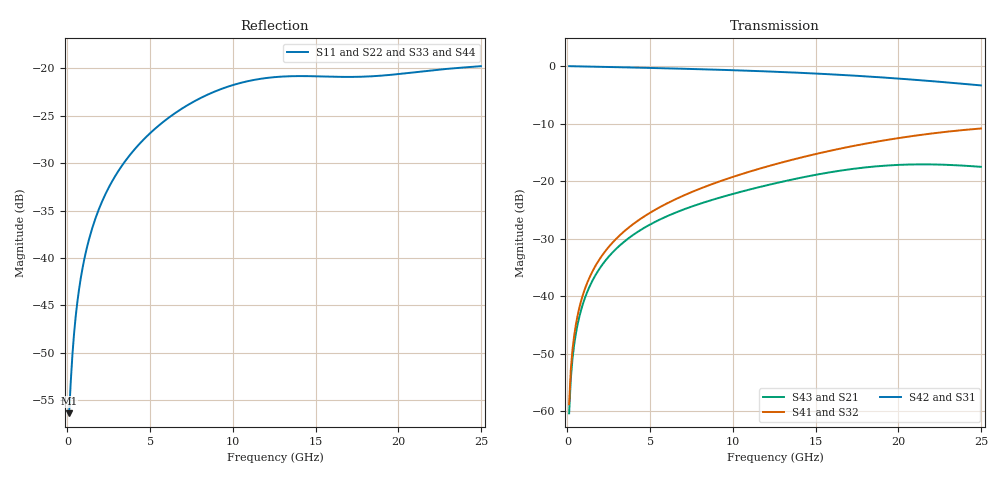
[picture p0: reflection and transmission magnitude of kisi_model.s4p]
! kisi E_s8_L1L8_p800_round_g2: fast channel model (formula impedances, via model), up to 25 GHz
# Hz S RI R 50
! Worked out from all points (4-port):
!   250 points, 100 MHz to 25 GHz, reference 50 ohm
!   strongest paths, dB at 100 MHz, 6.3 GHz, 12.6 GHz, 18.8 GHz, 25 GHz:
!     S42: 0.0, -0.4, -1.0, -1.9, -3.4
!     S31: 0.0, -0.4, -1.0, -1.9, -3.4
!     S41: -58.8, -23.5, -17.0, -13.1, -10.8
!     S32: -58.8, -23.5, -17.0, -13.1, -10.8
!     S43: -60.3, -25.7, -20.3, -17.4, -17.5
!     S21: -60.3, -25.7, -20.3, -17.4, -17.5
!   lowest |S11| = -56.4 dB at 100 MHz (marker M1), VSWR 1.00, Z = 50.1 - j0.0924 ohm
!   |S11| at or under -10 dB: start of sweep to end of sweep
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1e8  0.0012 -0.000922  5.81e-05 0.00096  0.9973 -0.0387  -7.31e-05 -0.00115
     5.81e-05 0.00096  0.0012 -0.000922  -7.31e-05 -0.00115  0.9973 -0.0387
     0.9973 -0.0387  -7.31e-05 -0.00115  0.0012 -0.000922  5.81e-05 0.00096
     -7.31e-05 -0.00115  0.9973 -0.0387  5.81e-05 0.00096  0.0012 -0.000922
4e9  -0.0367 -0.00372  0.0343 0.00188  0.0849 -0.9674  -0.0426 -0.00188
     0.0343 0.00188  -0.0367 -0.00372  -0.0426 -0.00188  0.0849 -0.9674
     0.0849 -0.9674  -0.0426 -0.00188  -0.0367 -0.00372  0.0343 0.00188
     -0.0426 -0.00188  0.0849 -0.9674  0.0343 0.00188  -0.0367 -0.00372
7.9e9  -0.0229 0.0648  0.0114 -0.0618  -0.9158 -0.2132  -0.0135 0.0837
       0.0114 -0.0618  -0.0229 0.0648  -0.0135 0.0837  -0.9158 -0.2132
       -0.9158 -0.2132  -0.0135 0.0837  -0.0229 0.0648  0.0114 -0.0618
       -0.0135 0.0837  -0.9158 -0.2132  0.0114 -0.0618  -0.0229 0.0648
1.24e10  0.0785 0.0436  -0.0945 -0.00506  -0.1332 0.8848  0.1382 0.00289
         -0.0945 -0.00506  0.0785 0.0436  0.1382 0.00289  -0.1332 0.8848
         -0.1332 0.8848  0.1382 0.00289  0.0785 0.0436  -0.0945 -0.00506
         0.1382 0.00289  -0.1332 0.8848  -0.0945 -0.00506  0.0785 0.0436
1.68e10  0.0694 -0.0576  0.0134 0.1245  0.83 0.0854  -0.027 -0.1939
         0.0134 0.1245  0.0694 -0.0576  -0.027 -0.1939  0.83 0.0854
         0.83 0.0854  -0.027 -0.1939  0.0694 -0.0576  0.0134 0.1245
         -0.027 -0.1939  0.83 0.0854  0.0134 0.1245  0.0694 -0.0576
2.09e10  -0.0164 -0.0939  0.137 -0.0273  0.1271 -0.7513  -0.2404 0.0572
         0.137 -0.0273  -0.0164 -0.0939  -0.2404 0.0572  0.1271 -0.7513
         0.1271 -0.7513  -0.2404 0.0572  -0.0164 -0.0939  0.137 -0.0273
         -0.2404 0.0572  0.1271 -0.7513  0.137 -0.0273  -0.0164 -0.0939
2.5e10  -0.0981 -0.0307  -0.0375 -0.1279  -0.6588 -0.1654  0.1036 0.2675
        -0.0375 -0.1279  -0.0981 -0.0307  0.1036 0.2675  -0.6588 -0.1654
        -0.6588 -0.1654  0.1036 0.2675  -0.0981 -0.0307  -0.0375 -0.1279
        0.1036 0.2675  -0.6588 -0.1654  -0.0375 -0.1279  -0.0981 -0.0307
